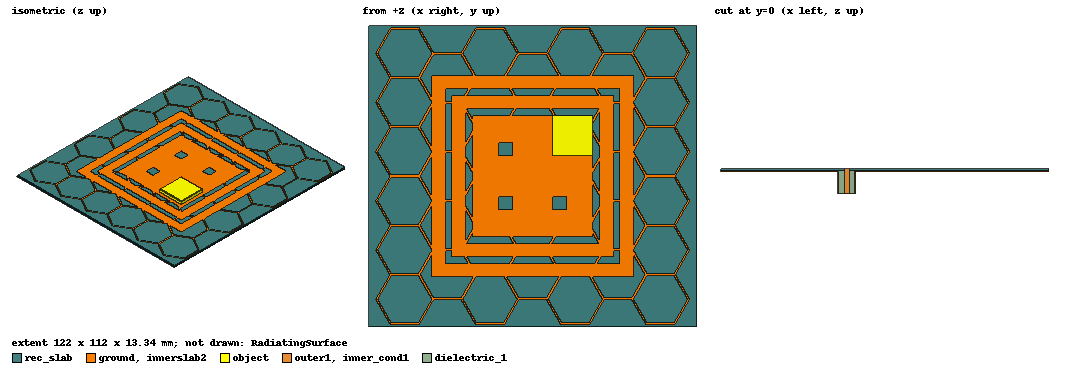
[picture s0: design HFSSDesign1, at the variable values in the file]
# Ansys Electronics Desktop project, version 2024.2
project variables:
  $unit_x = 40mm
  $unit_y = 30mm
  $unit_t = 0.035mm
  $hex_s = 10.8mm
  $hex_out = 10.8mm
  $hex_diff = 0.35mm
  $hex_in = $hex_out-2*$hex_diff
  $rec_x = 122mm
  $rect_y = 112mm
  $sub_rec_diff = 0mm
  $sub_x = $rect_x+2*$sub_rec_diff
  $sub_y = $rect_y+2*$sub_rec_diff
  $sub_t = 0.8mm
  $gnd_rec_diff = 0mm
  $gnd_x = $rect_x+2*$gnd_rec_diff
  $gnd_y = $rect_y+2*$gnd_rec_diff
  $rect_x = $rec_x
  $rec_y = $rect_y
  $inn_r = 0.9mm
  $out_r_in = 3mm
  $m1_x = 30mm
  $thi = 0.035mm
  $sc_h = 8.5mm
  $out_r = 3.2mm
  $strip_back_y = 2.2mm
  $strip_back_x = 2.5mm
  $via_r = $strip_back_y/2
  $slab_x = 100mm
  $slab_y = 100mm
  $cutslot_x = 3mm
  $cutslot_y = 28mm
  $exci_x = 50mm
  $exci_y = 20mm
  $exci_z = 20mm
  $eo_x = 1mm
  $eo_y = 0mm
  $eo_z = 0mm
  $k_x = 0mm
  $k_y = 0mm
  $k_z = -1mm
  $inc_wave_mag = 50V_per_meter
  $mag_inciwave = 10V_per_meter
  $slab2_x = 75mm
  $slab2_y = 75mm
  $slab1_x = 80mm
  $slab1_y = 80mm
  $slab3_x = 65mm
  $slab3_y = 65mm
  $slab4_x = 60mm
  $slab4_y = 60mm
  $slab5_x = 50mm
  $slab5_y = 50mm
  $slab6_x = 55mm
  $slab6_y = 55mm
  $slitwidth = 5mm
  $slitx = 10mm
  $slity = 10mm
  $slitwidthx = 5mm
  $slitlength = 5mm
  $m2_x = 30mm
  $slab7_x = 50mm
  $slab7_y = 50mm
  $slab8_x = 45mm
  $slab8_y = 45mm
  $obpos_x = $m1_x/2
  $obj_x = 15mm
  $obpos_y = $m1_x/2
  $obj_y = 15mm
  $obpos_z = 2mm
  $obj_z = 2mm
  $er_material = 1
  $tand_material = 0.031
  $cond_material = 10S_per_m
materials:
  vacuum: permittivity=1
  copper: permeability=0.999991 conductivity=58000000
  Rogers Ultralam 1250 (tm): permittivity=2.5 dielectric_loss_tangent=0.0015
  Teflon (tm): permittivity=2.1 dielectric_loss_tangent=0.001
  Arlon AD255A (tm): permittivity=2.55 dielectric_loss_tangent=0.0015
  FR4_epoxy: permittivity=4.4 dielectric_loss_tangent=0.02
  water_sea: permittivity=81 permeability=0.999991 conductivity=4
  water_distilled: permittivity=81 permeability=0.999991 conductivity=0.0002
  gold: permeability=0.99996 conductivity=41000000
  sample_material: permittivity=$er_material conductivity=$cond_material dielectric_loss_tangent=$tand_material
  silicon: permittivity=11.9
  water_fresh: permittivity=81 permeability=0.999991 conductivity=0.01
  graphite: conductivity=70000
  silver: permeability=0.99998 conductivity=61000000
  perfect conductor: conductivity=1e+30
  PVC plastic: permittivity=2.7 dielectric_loss_tangent=0.007
  quartz_glass: permittivity=3.78

design HFSSDesign1 (HFSS, HFSS Terminal Network, model units mm)
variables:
  b = 8mm
  a = 9.275mm
  vec = 2mm
  vn = 9
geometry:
  ver_hex4 = polyhedron(axis=Z, centre=(0mm, 0mm, 0mm), first_corner=(-$hex_out/2, sqrt(3)*$hex_out/2, 0mm), sides=6, height=$unit_t)
  hex_in = polyhedron(axis=Z, centre=(0mm, 0mm, 0mm), first_corner=(-$hex_in/2, sqrt(3)*$hex_in/2, 0mm), sides=6, height=$unit_t)
  ver_hex4.subtract(hex_in)
  rec_slab [FR4_epoxy] = box(corner=(-$sub_x/2, -$sub_y/2, -$sub_t), size=($sub_x, $sub_y, $sub_t))
  hex_out_1, hex_out_2 = ver_hex4.duplicate_along_line(step=(0mm, 18.306149mm, 0mm), total=3)
  hex_out_3, hex_out_4 = ver_hex4.duplicate_along_line(step=(0mm, -18.306149mm, 0mm), total=3)
  ver_hex5 = hex_out_2.duplicate_along_line(step=(15.85359mm, 9.1530744mm, 0mm), total=2)
  hex_out_2_1_1..hex_out_2_1_5 = ver_hex5.duplicate_along_line(step=(3.5527137e-15mm, -18.306149mm, 0mm), total=6)
  ver_hex4.unite(hex_out_1..hex_out_4)
  ver_hex5.unite(hex_out_2_1_1..hex_out_2_1_5)
  ver_hex3, ver_hex1 = ver_hex5.duplicate_along_line(step=(-31.70718mm, 0mm, 0mm), total=3)
  ver_hex6 = ver_hex4.duplicate_along_line(step=(31.70718mm, 0mm, 0mm), total=2)
  ver_hex2 = ver_hex4.duplicate_along_line(step=(-31.70718mm, 0mm, 0mm), total=2)
  ver_hex7 = ver_hex5.duplicate_along_line(step=(31.70718mm, 3.5527137e-14mm, 0mm), total=2)
  ver_hex1.unite(ver_hex2..ver_hex7)
  RadiatingSurface [vacuum] = region(absolute_offset=33.333333mm on all sides)
  innerslab2 [copper] = box(corner=(-$slab2_x/2, -$slab2_y/2, 0mm), size=($slab2_x, $slab2_y, $thi))
  innerslab3 = box(corner=(-$slab3_x/2, -$slab3_y/2, 0mm), size=($slab3_x, $slab3_y, $thi))
  innerslab4 = box(corner=(-$slab4_x/2, -$slab4_y/2, 0mm), size=($slab4_x, $slab4_y, $thi))
  innerslab5 = box(corner=(-$slab5_x/2, -$slab5_y/2, 0mm), size=($slab5_x, $slab5_y, $thi))
  innerslab4.subtract(innerslab5)
  Box1 = box(corner=(-$slitlength/2-$slitx, $slity-$slitwidth/2, 0mm), size=($slitlength, $slitwidth, $thi))
  Box2 = box(corner=(-$slitlength/2+$slitx, $slity-$slitwidth /2, 0mm), size=($slitlength, $slitwidth, $thi))
  Box3 = box(corner=(-$slitlength/2-$slitx, -$slity-$slitwidth/2, 0mm), size=($slitlength, $slitwidth, $thi))
  Box4 = box(corner=(-$slitlength/2+$slitx, -$slity-$slitwidth /2, 0mm), size=($slitlength, $slitwidth, $thi))
  ground [copper] = box(corner=(-$gnd_x/2, -$gnd_y/2, -$thi-$sub_t), size=($gnd_x, $gnd_y, $thi))
  port1 = circle(normal=Z, centre=($m1_x/2-$inn_r, 0, -$sc_h-$sub_t), radius=$out_r_in)
  pecCap1 [copper] = sweep_along_normal(port1.face(at (14.1, 0, -9.3)), length=-0.035mm)
  port1.delete()
  outer1 [copper] = cylinder(axis=Z, base_centre=($m1_x/2-$inn_r, 0, -$thi-$sub_t), radius=$out_r, height=-$sc_h)
  dielectric = cylinder(axis=Z, base_centre=($m1_x/2-$inn_r, 0, -$thi-$sub_t), radius=$out_r_in, height=-$sc_h)
  outer1.subtract(dielectric)
  dielectric_1 [Teflon (tm)] = cylinder(axis=Z, base_centre=($m1_x/2-$inn_r, 0, -$sub_t), radius=$out_r_in, height=-$sc_h)
  sub_die = cylinder(axis=Z, base_centre=($m1_x/2-$inn_r, 0, -$sub_t), radius=$inn_r, height=-$sc_h)
  dielectric_1.subtract(sub_die)
  inner_cond1 [copper] = cylinder(axis=Z, base_centre=($m1_x /2-$inn_r, 0, 0), radius=$inn_r, height=-$sc_h-$sub_t)
  inner_cond2 = cylinder(axis=Z, base_centre=($m1_x /2-$inn_r, 0, 0), radius=$inn_r, height=-$sub_t)
  rec_slab.subtract(inner_cond2)
  inner_cond3 = cylinder(axis=Z, base_centre=($m1_x /2-$inn_r, 0, -$sub_t), radius=$out_r, height=-$thi)
  ground.subtract(inner_cond3)
  port2 = circle(normal=Z, centre=(0, $m2_x/2-$inn_r, -$sc_h-$sub_t), radius=$out_r_in)
  pecCap2 [copper] = sweep_along_normal(port2.face(at (0, 14.1, -9.3)), length=-0.035mm)
  port2.delete()
  outer2 [copper] = cylinder(axis=Z, base_centre=(0, $m2_x/2-$inn_r, -$thi-$sub_t), radius=$out_r, height=-$sc_h)
  dielectric1 = cylinder(axis=Z, base_centre=(0, $m2_x/2-$inn_r, -$thi-$sub_t), radius=$out_r_in, height=-$sc_h)
  outer2.subtract(dielectric1)
  dielectric_2 [Teflon (tm)] = cylinder(axis=Z, base_centre=(0, $m2_x/2-$inn_r, -$sub_t), radius=$out_r_in, height=-$sc_h)
  sub_die1 = cylinder(axis=Z, base_centre=(0, $m2_x/2-$inn_r, -$sub_t), radius=$inn_r, height=-$sc_h)
  dielectric_2.subtract(sub_die1)
  inner_cond4 [copper] = cylinder(axis=Z, base_centre=(0, $m2_x /2-$inn_r, 0), radius=$inn_r, height=-$sc_h-$sub_t)
  inner_cond5 = cylinder(axis=Z, base_centre=(0, $m2_x /2-$inn_r, -$sub_t), radius=$out_r, height=-$thi)
  ground.subtract(inner_cond5)
  inner_cond6 = cylinder(axis=Z, base_centre=(0, $m2_x /2-$inn_r, 0), radius=$inn_r, height=-$sub_t)
  rec_slab.subtract(inner_cond6)
  Circle1 = circle(normal=Z, centre=($m1_x/2-$inn_r, 0mm, -$sc_h-$sub_t), radius=$out_r_in)
  Circle2 = circle(normal=Z, centre=(0, $m2_x/2-$inn_r, -$sc_h-$sub_t), radius=$out_r_in)
  coordinate_system RelativeCS1 = origin=(0mm, 0mm, -$sub_t) x=(1mm, 0mm, 0mm) y=(0mm, 1mm, 0mm)
  innerslab2.subtract(innerslab3)
  innerslab8 = box(corner=(-$slab8_x/2, -$slab8_y/2, 0mm), size=($slab8_x, $slab8_y, $thi))
  innerslab8.subtract(Box1..Box4)
  innerslab2.unite(innerslab4, innerslab8, ver_hex1)
  object [quartz_glass] = box(corner=($obpos_x-$obj_x /2, $obpos_y-$obj_y/2, $obpos_z), size=($obj_x, $obj_y, $obj_z))
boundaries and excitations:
  Open1: Radiation Objects=RadiatingSurface
  PerfE1: Perfect E Objects=innerslab2
  PerfE2: Perfect E Objects=ground
  1: Wave Port Objects=Circle1 WavePortType=Modal NumModes=1 Modes{Mode1{IntLine{(14.1, 0, -9.3) -> (17.1, 0, -9.3)} CharImp=Zpi}}
  2: Wave Port Objects=Circle2 WavePortType=Modal NumModes=1 Modes{Mode1{IntLine{(0, 14.1, -9.3) -> (0, 17.1, -9.3)} CharImp=Zpi}}
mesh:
  initial mesh: GlobalSurfApproximation{CurvedSurfaceApproxChoice=UseSlider SliderMeshSettings=1} MeshMethod=AnsoftClassic DynamicSurfaceResolution
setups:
  Setup1: HfssDrivenAuto AutoSolverSetting="Higher Speed" InfiniteSphereSetup=1 Type=Discrete
    sweep Sweep: 2GHz to 6GHz step 0.05GHz;
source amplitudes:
  1:1: 1V 0deg
  2:1: 0V 0deg
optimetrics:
  ParametricSetup1: Parametric disabled Sim._Setups=[Setup1]
    sweep $er_material: LIN 1 81 40
  ParametricSetup2: Parametric disabled Sim._Setups=[Setup1]
    sweep $cond_material: DEC 10S_per_m 1000000S_per_m 1
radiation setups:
  3D: Infinite Sphere Theta=0deg..180deg step 2deg Phi=-180deg..180deg step 2deg
  Elevation: Infinite Sphere Theta=-180deg..180deg step 1deg Phi=0deg..90deg step 90deg
  Azimuth: Infinite Sphere Theta=90deg..90deg step 0deg Phi=-180deg..180deg step 1deg
  Infinite Sphere1: Infinite Sphere Theta=0deg..180deg step 5deg Phi=0deg..180deg step 5deg
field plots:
  Vector_E1, Mag_E1: E Field over innerslab2.face(all 366) on Setup1 : LastAdaptive at Freq=4GHz Phase=0deg
  Vector_H1: H Field over innerslab2.face(all 366) on Setup1 : LastAdaptive at Freq=4GHz Phase=0deg
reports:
  S Parameter Plot 1: dB(S(1,1)), dB(S(2,1)), dB(S(1,2)), dB(S(2,2)) vs Freq on Setup1 : Sweep
  S Parameter Plot 2: dB(S(2,1)) vs Freq on Setup1 : Sweep
  S Parameter Plot 3: dB(S(2,2)) vs Freq on Setup1 : Sweep [$er_material=all]
  S Parameter Plot 4: dB(S(1,2)) vs Freq on Setup1 : Sweep
  S Parameter Plot 5: dB(S(1,1)) vs Freq on Setup1 : Sweep [$er_material=all]
  S Parameter Plot 6: dB(S(2,2)) vs Freq on Setup1 : Sweep [$er_material=all]
  Gain Plot 1: abs(GainTotal) vs Theta on Setup1 : LastAdaptive, Elevation [Phi=90deg Freq=6GHz]; abs(GainTotal) vs Phi on Setup1 : LastAdaptive, Azimuth [Theta=all Freq=6GHz]
  S Parameter Plot 7: dB(S(1,1)), dB(S(2,1)), dB(S(1,2)), dB(S(2,2)) vs Freq on Setup1 : Sweep [$er_material=all]
  S Parameter Plot 8: dB(S(1,1)), dB(S(2,1)), dB(S(1,2)), dB(S(2,2)) vs Freq on Setup1 : Sweep [$er_material=all $cond_material=all]
